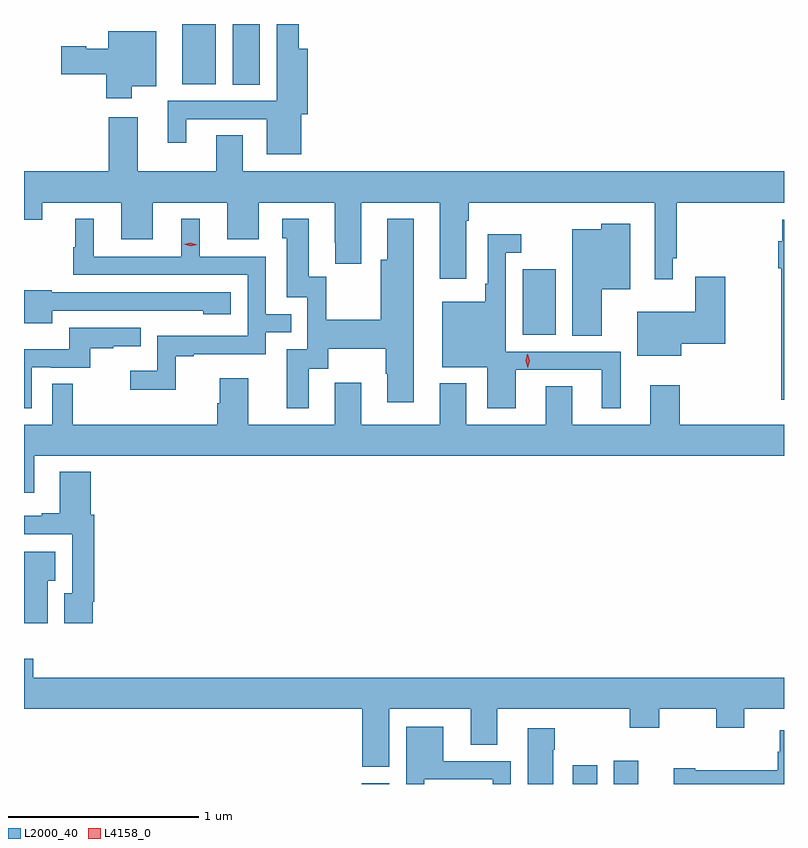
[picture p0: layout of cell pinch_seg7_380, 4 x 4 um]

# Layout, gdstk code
import gdstk
lib = gdstk.Library(unit=1e-6, precision=1e-09)
def R(c, l, rs):  # rectangles x0, y0, x1, y1
    for r in rs: c.add(gdstk.rectangle(r[:2], r[2:], *l))
def P(c, l, *ps):  # polygons
    for p in ps: c.add(gdstk.Polygon(p, *l))
L2000_40 = (2000, 40)
L4158_0 = (4158, 0)

pinch_seg7_380 = lib.new_cell('pinch_seg7_380')
R(pinch_seg7_380, L2000_40, [(552.087,1033.52,552.232,1033.525), (553.197,1033.52,553.327,1033.618), (553.415,1033.52,553.543,1033.642), (552.935,1035.884,553.108,1036.228), (551.408,1037.2,551.551,1037.52), (551.144,1037.204,551.32,1037.52)])
P(pinch_seg7_380, L2000_40, [(551.77,1037.045),(551.803,1037.045),(551.803,1037.389),(551.756,1037.389),(551.756,1037.52),(551.64,1037.52),(551.64,1037.115),(551.066,1037.115),(551.066,1036.896),(551.164,1036.896),(551.164,1037.019),(551.588,1037.019),(551.588,1036.835),(551.77,1036.835)],
  [(550.876,1037.192),(551.005,1037.192),(551.005,1037.482),(550.754,1037.482),(550.754,1037.389),(550.638,1037.389),(550.638,1037.402),(550.506,1037.402),(550.506,1037.255),(550.742,1037.255),(550.742,1037.13),(550.876,1037.13)],
  [(553.725,1036.288),(553.745,1036.288),(553.745,1036.58),(554.31,1036.58),(554.31,1036.744),(551.461,1036.744),(551.461,1036.934),(551.321,1036.934),(551.321,1036.744),(550.909,1036.744),(550.909,1037.029),(550.757,1037.029),(550.757,1036.744),(550.31,1036.744),(550.31,1036.49),(550.405,1036.49),(550.405,1036.58),(550.823,1036.58),(550.823,1036.386),(550.987,1036.386),(550.987,1036.58),(551.381,1036.58),(551.381,1036.386),(551.545,1036.386),(551.545,1036.58),(551.945,1036.58),(551.945,1036.369),(551.947,1036.369),(551.947,1036.257),(552.085,1036.257),(552.085,1036.58),(552.497,1036.58),(552.497,1036.179),(552.637,1036.179),(552.637,1036.484),(552.65,1036.484),(552.65,1036.58),(553.629,1036.58),(553.629,1036.176),(553.725,1036.176)],
  [(551.809,1035.706),(551.911,1035.706),(551.911,1035.812),(552.214,1035.812),(552.214,1035.678),(552.221,1035.678),(552.221,1035.528),(552.361,1035.528),(552.361,1036.495),(552.221,1036.495),(552.221,1036.279),(552.188,1036.279),(552.188,1035.964),(551.902,1035.964),(551.902,1036.189),(551.809,1036.189),(551.809,1036.495),(551.669,1036.495),(551.669,1036.392),(551.693,1036.392),(551.693,1036.083),(551.802,1036.083),(551.802,1035.807),(551.693,1035.807),(551.693,1035.498),(551.809,1035.498)],
  [(551.109,1035.771),(551.203,1035.771),(551.203,1035.783),(551.583,1035.783),(551.583,1035.897),(551.717,1035.897),(551.717,1035.993),(551.583,1035.993),(551.583,1036.296),(551.236,1036.296),(551.236,1036.495),(551.138,1036.495),(551.138,1036.296),(550.678,1036.296),(550.678,1036.495),(550.58,1036.495),(550.58,1036.344),(550.569,1036.344),(550.569,1036.2),(551.487,1036.2),(551.487,1035.879),(551.01,1035.879),(551.01,1035.694),(550.869,1035.694),(550.869,1035.596),(551.109,1035.596)],
  [(554.31,1036.489),(554.301,1036.489),(554.301,1036.376),(554.281,1036.376),(554.281,1036.235),(554.296,1036.235),(554.296,1035.543),(554.31,1035.543)],
  [(553.351,1036.124),(553.501,1036.124),(553.501,1036.468),(553.347,1036.468),(553.347,1036.441),(553.196,1036.441),(553.196,1035.88),(553.351,1035.88)],
  [(552.898,1035.699),(553.352,1035.699),(553.352,1035.498),(553.45,1035.498),(553.45,1035.795),(552.846,1035.795),(552.846,1036.317),(552.928,1036.317),(552.928,1036.414),(552.75,1036.414),(552.75,1036.153),(552.738,1036.153),(552.738,1036.057),(552.512,1036.057),(552.512,1035.713),(552.749,1035.713),(552.749,1035.498),(552.898,1035.498)],
  [(553.768,1035.836),(554.002,1035.836),(554.002,1036.189),(553.844,1036.189),(553.844,1036.006),(553.538,1036.006),(553.538,1035.773),(553.768,1035.773)],
  [(550.459,1036.011),(551.017,1036.011),(551.017,1036.01),(551.253,1036.01),(551.253,1035.992),(551.398,1035.992),(551.398,1036.107),(550.455,1036.107),(550.455,1036.12),(550.31,1036.12),(550.31,1035.944),(550.459,1035.944)],
  [(550.35,1035.714),(550.45,1035.714),(550.45,1035.711),(550.658,1035.711),(550.658,1035.813),(550.781,1035.813),(550.781,1035.824),(550.925,1035.824),(550.925,1035.921),(550.548,1035.921),(550.548,1035.809),(550.31,1035.809),(550.31,1035.497),(550.35,1035.497)],
  [(550.363,1035.248),(554.31,1035.248),(554.31,1035.412),(553.76,1035.412),(553.76,1035.619),(553.607,1035.619),(553.607,1035.412),(553.195,1035.412),(553.195,1035.614),(553.055,1035.614),(553.055,1035.412),(552.637,1035.412),(552.637,1035.628),(552.497,1035.628),(552.497,1035.412),(552.085,1035.412),(552.085,1035.631),(551.945,1035.631),(551.945,1035.412),(551.491,1035.412),(551.491,1035.655),(551.339,1035.655),(551.339,1035.525),(551.327,1035.525),(551.327,1035.412),(550.567,1035.412),(550.567,1035.626),(550.458,1035.626),(550.458,1035.412),(550.31,1035.412),(550.31,1035.054),(550.363,1035.054)],
  [(550.672,1034.479),(550.679,1034.479),(550.679,1034.938),(550.66,1034.938),(550.66,1035.163),(550.499,1035.163),(550.499,1034.944),(550.403,1034.944),(550.403,1034.931),(550.31,1034.931),(550.31,1034.835),(550.563,1034.835),(550.563,1034.523),(550.523,1034.523),(550.523,1034.367),(550.672,1034.367)],
  [(550.435,1034.591),(550.474,1034.591),(550.474,1034.743),(550.31,1034.743),(550.31,1034.366),(550.435,1034.366)],
  [(552.232,1033.916),(552.662,1033.916),(552.662,1033.726),(552.802,1033.726),(552.802,1033.916),(553.498,1033.916),(553.498,1033.817),(553.653,1033.817),(553.653,1033.916),(553.954,1033.916),(553.954,1033.817),(554.101,1033.817),(554.101,1033.916),(554.31,1033.916),(554.31,1034.08),(550.358,1034.08),(550.358,1034.179),(550.31,1034.179),(550.31,1033.916),(552.089,1033.916),(552.089,1033.61),(552.232,1033.61)],
  [(552.417,1033.545),(552.777,1033.545),(552.777,1033.52),(552.873,1033.52),(552.873,1033.641),(552.517,1033.641),(552.517,1033.822),(552.321,1033.822),(552.321,1033.52),(552.417,1033.52)],
  [(553.096,1033.7),(553.104,1033.7),(553.104,1033.813),(552.962,1033.813),(552.962,1033.52),(553.096,1033.52)],
  [(554.31,1033.804),(554.288,1033.804),(554.288,1033.689),(554.276,1033.689),(554.276,1033.593),(553.843,1033.593),(553.843,1033.603),(553.731,1033.603),(553.731,1033.52),(554.31,1033.52)])
P(pinch_seg7_380, L4158_0, [(552.962,1035.712),(552.962,1035.712),(552.951,1035.747),(552.959,1035.783),(552.96,1035.783),(552.96,1035.783),(552.971,1035.748),(552.962,1035.712)],
  [(551.187,1036.349),(551.151,1036.36),(551.151,1036.36),(551.151,1036.36),(551.187,1036.369),(551.223,1036.358),(551.223,1036.358),(551.223,1036.358)])

lib.write_gds('pinch_seg7_380.gds')
